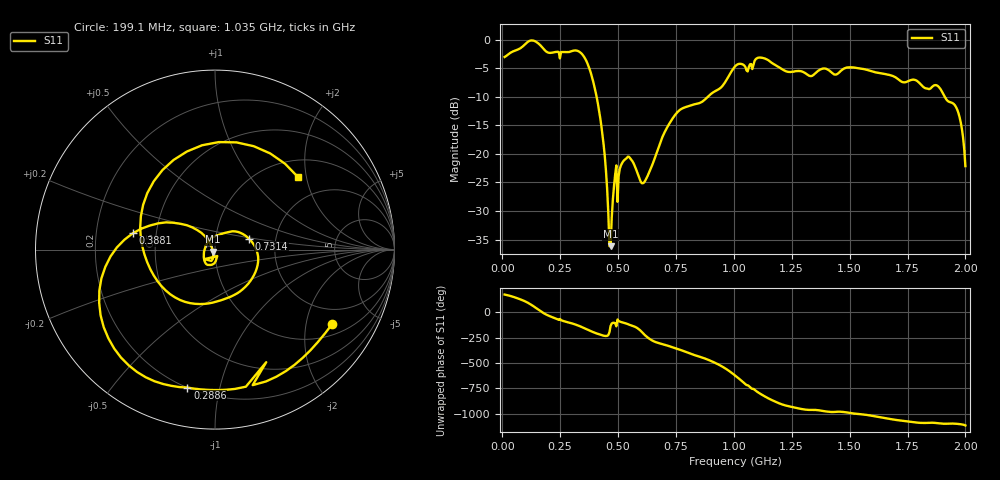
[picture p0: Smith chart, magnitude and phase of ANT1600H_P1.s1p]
!Created with skrf (http://scikit-rf.org).
# Hz S RI R 50.0
!freq ReS11 ImS11
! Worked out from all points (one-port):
!   401 points, 10 MHz to 2 GHz, reference 50 ohm
!   lowest |S11| = -36.2 dB at 467.7 MHz (marker M1), VSWR 1.03, Z = 48.9 - j1.1 ohm
!   |S11| at or under -10 dB: 407.5 MHz to 886.9 MHz (479.5 MHz wide, 74.1 % of centre); 1.911 GHz to end of sweep
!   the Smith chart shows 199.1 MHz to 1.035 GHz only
!   S11 on the Smith chart (normalised r, x): 199.1 MHz: 1.38, -2.85; 288.6 MHz: 0.20, -0.80; 388.1 MHz: 0.37, +0.08; 731.4 MHz: 1.45, +0.18; 1.035 GHz: 1.37, +1.79
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1e7  -0.707 0.0543
6.97e7  -0.5878 0.5839
1.1945e8  0.1278 0.9765
1.5925e8  0.8616 0.3223
1.9905e8  0.6541 -0.4133
2.5875e8  0.1107 -0.7763
2.886e8  -0.1536 -0.7687
3.483e8  -0.6375 -0.366
3.881e8  -0.4587 0.0904
4.279e8  -0.1254 0.1232
4.677e8  -0.0107 -0.0113
5.075e8  -0.00168 -0.074
5.473e8  -0.0492 -0.0806
6.11975e8  -0.0453 0.0333
7.31375e8  0.1891 0.0609
7.5625e8  0.2324 -0.00565
9.055e8  -0.1938 -0.2811
9.70175e8  -0.4129 0.1857
1.005e9  -0.0719 0.5814
1.03485e9  0.4617 0.405
1.079625e9  0.4495 -0.3256
1.119425e9  -0.0182 -0.6993
1.17415e9  -0.5622 -0.2395
1.25375e9  -0.4291 0.3054
1.5025e9  0.0383 0.5754
1.75125e9  0.4331 0.0298
1.955225e9  0.2515 -0.0889
2e9  0.0625 -0.0469
